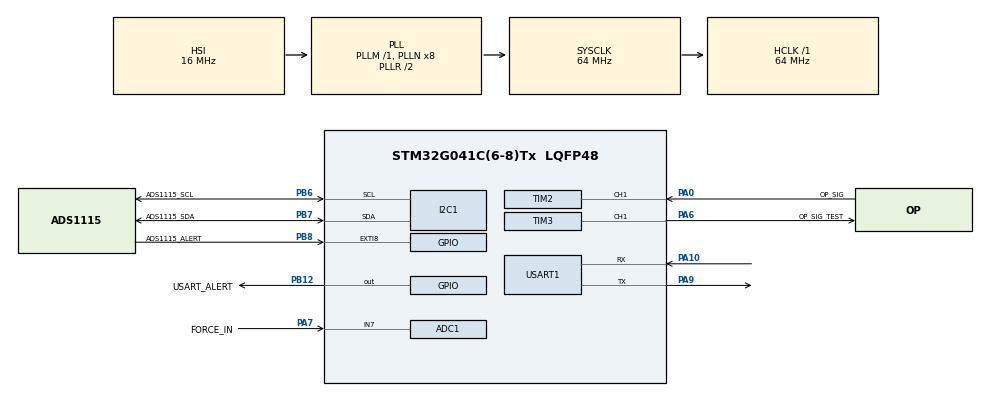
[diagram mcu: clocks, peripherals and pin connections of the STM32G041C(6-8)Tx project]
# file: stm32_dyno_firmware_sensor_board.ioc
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ADC1.Channel-0\#ChannelRegularConversion=ADC_CHANNEL_7
ADC1.NbrOfConversionFlag=1
ADC1.Rank-0\#ChannelRegularConversion=1
ADC1.SamplingTime-0\#ChannelRegularConversion=ADC_SAMPLINGTIME_COMMON_1
ADC1.SelectedChannel=ADC_CHANNEL_7
ADC1.master=1
I2C1.Timing=0x10B17DB5
Mcu.Family=STM32G0
Mcu.Name=STM32G041C(6-8)Tx
Mcu.Package=LQFP48
NVIC.EXTI4_15_IRQn=true\:0\:0\:false\:false\:true\:true\:true\:true
NVIC.USART1_IRQn=true\:0\:0\:false\:false\:true\:true\:true\:true
PA0.GPIO_Label=OP_SIG
PA0.Signal=S_TIM2_CH1_ETR
PA10.Mode=Asynchronous
PA10.Signal=USART1_RX
PA13.Mode=Serial_Wire
PA13.Signal=SYS_SWDIO
PA14-BOOT0.Mode=Serial_Wire
PA14-BOOT0.Signal=SYS_SWCLK
PA6.GPIO_Label=OP_SIG_TEST
PA6.GPIO_PuPd=GPIO_PULLDOWN
PA6.Signal=S_TIM3_CH1
PA7.GPIO_Label=FORCE_IN
PA7.Mode=IN7
PA7.Signal=ADC1_IN7
PA9.Mode=Asynchronous
PA9.Signal=USART1_TX
PB12.GPIO_Label=USART_ALERT
PB12.GPIO_PuPd=GPIO_PULLUP
PB12.Signal=GPIO_Output
PB6.GPIO_Label=ADS1115_SCL
PB6.Mode=I2C
PB6.Signal=I2C1_SCL
PB7.GPIO_Label=ADS1115_SDA
PB7.Mode=I2C
PB7.Signal=I2C1_SDA
PB8.GPIO_Label=ADS1115_ALERT
PB8.GPIO_ModeDefaultEXTI=GPIO_MODE_IT_FALLING
PB8.GPIO_PuPd=GPIO_PULLUP
PB8.Signal=GPXTI8
ProjectManager.HeapSize=0x200
ProjectManager.StackSize=0x400
ProjectManager.TargetToolchain=STM32CubeIDE
RCC.ADCFreq_Value=64000000
RCC.AHBFreq_Value=64000000
RCC.CortexFreq_Value=64000000
RCC.EXTERNAL_CLOCK_VALUE=12288000
RCC.HCLKFreq_Value=64000000
RCC.HSE_VALUE=8000000
RCC.HSI_VALUE=16000000
RCC.LSE_VALUE=32768
RCC.PLLQ=RCC_PLLQ_DIV4
RCC.SYSCLKFreq_VALUE=64000000
RCC.SYSCLKSource=RCC_SYSCLKSOURCE_PLLCLK
RCC.VCOOutputFreq_Value=128000000
SH.S_TIM2_CH1_ETR.0=TIM2_CH1,TriggerSource_TI1FP1
SH.S_TIM3_CH1.0=TIM3_CH1,PWM Generation1 CH1
TIM1.Prescaler=16-1
TIM3.AutoReloadPreload=TIM_AUTORELOAD_PRELOAD_ENABLE
TIM3.Channel-PWM\ Generation1\ CH1=TIM_CHANNEL_1
TIM3.Period=400-1
TIM3.Prescaler=16-1
TIM3.Pulse-PWM\ Generation1\ CH1=200-1
USART1.VirtualMode-Asynchronous=VM_ASYNC
VP_TIM1_VS_ClockSourceINT.Mode=Internal
VP_TIM2_VS_ControllerModeClock.Mode=Clock Mode
board=custom

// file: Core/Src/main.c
/* USER CODE BEGIN Header */
/**
  ******************************************************************************
  * @file           : main.c
  * @brief          : Main program body
  ******************************************************************************
  * @attention
  *
  * Copyright (c) 2026 STMicroelectronics.
  * All rights reserved.
  *
  * This software is licensed under terms that can be found in the LICENSE file
  * in the root directory of this software component.
  * If no LICENSE file comes with this software, it is provided AS-IS.
  *
  ******************************************************************************
  */
/* USER CODE END Header */
#include "main.h"

/* USER CODE BEGIN Includes */
#include "ForceSensor/ADC/ForceSensor_ADC.h"
#include "ForceSensor/ADS1115/ForceSensor_ADS1115.h"
#include "OpticalSensor/OpticalSensor.h"

#include "Messages/messages_public.h"
#include "Messages/messages_private.h"
#include <stdio.h>
#include <string.h>
/* USER CODE END Includes */

/* USER CODE BEGIN PD */
#define PRINT_DATA_USING_SPRINTF 1
#define BYPASS_HANDSHAKES 1
/* USER CODE END PD */

ADC_HandleTypeDef hadc1;

I2C_HandleTypeDef hi2c1;

TIM_HandleTypeDef htim1;
TIM_HandleTypeDef htim2;
TIM_HandleTypeDef htim3;

UART_HandleTypeDef huart1;

void SystemClock_Config(void);
static void MX_GPIO_Init(void);
static void MX_TIM2_Init(void);
static void MX_ADC1_Init(void);
static void MX_I2C1_Init(void);
static void MX_USART1_UART_Init(void);
static void MX_TIM1_Init(void);
static void MX_TIM3_Init(void);

/* USER CODE BEGIN 0 */
TIM_HandleTypeDef* optical_timer = &htim1;
TIM_HandleTypeDef* optical_posedges_counter_timer = &htim2;

TIM_HandleTypeDef* optical_timer_test_pwm_timer = &htim3;

TIM_TypeDef* optical_timer_instance = TIM1;
TIM_TypeDef* optical_posedges_counter_timer_instance = TIM2;

ADC_HandleTypeDef* forcesensor_adc_handle = &hadc1;

I2C_HandleTypeDef* forcesensor_ads1115_i2c_handle = &hi2c1;

child_board_usart_combined_data_t usart_output_data;

child_board_force_sensor_ads1115_settings force_sensor_ads1115_settings = {
    .address = ADS1115_DEFAULT_ADDRESS,
    .multiplexer = ADS1115_MUX_P0_NG,
    .comparator_mode = ADS1115_COMP_MODE_HYSTERESIS,
    .comparator_polarity = ADS1115_COMP_POL_ACTIVE_LOW,
    .comparator_latch_enabled = ADS1115_COMP_LAT_NON_LATCHING,
    .comparator_queue_mode = ADS1115_COMP_QUE_DISABLE,
    .mode = ADS1115_MODE_SINGLESHOT,
    .data_rate = ADS1115_RATE_475,
    .gain = ADS1115_PGA_6P144
};

static volatile bool usart_message_received = false;

mother_board_to_child_board_usart_command_header_t usart_received_command_header;

bool waiting_on_uart_settings_msg = false;

bool error_detected = false;

/* USER CODE END 0 */

int main(void)
{

  /* MCU Configuration--------------------------------------------------------*/

  /* Reset of all peripherals, Initializes the Flash interface and the Systick. */
  HAL_Init();

  /* Configure the system clock */
  SystemClock_Config();

  /* Initialize all configured peripherals */
  MX_GPIO_Init();
  MX_TIM2_Init();
  MX_ADC1_Init();
  MX_I2C1_Init();
  MX_USART1_UART_Init();
  MX_TIM1_Init();
  MX_TIM3_Init();
  /* USER CODE BEGIN 2 */
  #if BYPASS_HANDSHAKES == 0
  HAL_UART_Receive_IT(&huart1, (uint8_t*)&usart_received_command_header, sizeof(mother_board_to_child_board_usart_command_header_t));
  #else
  OpticalSensor_Init();
  OpticalSensor_Enable(true);
  ForceSensorADS1115_Init(&force_sensor_ads1115_settings);
  ForceSensorADS1115_Enable(true);
  #endif

  HAL_TIM_PWM_Start(optical_timer_test_pwm_timer, TIM_CHANNEL_1);
  /* USER CODE END 2 */

  /* Infinite loop */
  /* USER CODE BEGIN WHILE */

  while (1)
  {
    bool skip = false;
    #if BYPASS_HANDSHAKES == 0
    if (usart_message_received)
    {
      __disable_irq();

      switch (usart_received_command_header.task_id)
      {
        case CHILD_BOARD_TASK_ID_OPTICAL_SENSOR:
          OpticalSensor_Enable(usart_received_command_header.enable);
          if (usart_received_command_header.enable)
          {
            OpticalSensor_Init();
          }
          break;

        case CHILD_BOARD_TASK_ID_FORCE_SENSOR_ADC:
          ForceSensorADC_Enable(usart_received_command_header.enable);
          if (usart_received_command_header.enable)
          {
            ForceSensorADC_Init();
          }
          break;

        case CHILD_BOARD_TASK_ID_FORCE_SENSOR_ADS1115:
          ForceSensorADS1115_Enable(usart_received_command_header.enable);
          if (usart_received_command_header.enable)
          {
            ForceSensorADS1115_Init(&force_sensor_ads1115_settings);
          }
          break;

        default:
          ChildBoardPopulateTaskErrorDataStruct(&usart_output_data.error_data, CHILD_BOARD_TASK_INVALID_TASK_ID, (uint32_t)ERROR_USB_RX_INVALID_TASK_ID);
          skip = true;
          break;
      }

      usart_message_received = false;
      if (HAL_UART_Receive_IT(&huart1, (uint8_t*)&usart_received_command_header, sizeof(mother_board_to_child_board_usart_command_header_t)) != HAL_OK)
      {
        ChildBoardPopulateTaskErrorDataStruct(&usart_output_data.error_data, CHILD_BOARD_TASK_INVALID_TASK_ID, (uint32_t)ERROR_USB_RX_CB_START_FAILURE);
      }

      __enable_irq();
    }
    #endif

    if (!skip)
    {
    	child_board_function_status_t status = OpticalSensor_Run();
      if (status == CHILD_BOARD_FUNCTION_ERROR || status == CHILD_BOARD_FUNCTION_WARNING)
      {
        OpticalSensor_Enable(false);
        skip = true;
      }
    }
    #if BYPASS_HANDSHAKES == 0
    if (!skip)
    {
      child_board_function_status_t status = ForceSensorADC_Run();
      if (status == CHILD_BOARD_FUNCTION_ERROR || status == CHILD_BOARD_FUNCTION_WARNING)
      {
        ForceSensorADC_Enable(false);
        skip = true;
      }
    }
    #endif

    if (!skip)
    {
	  child_board_function_status_t status = ForceSensorADS1115_Run();
      if (status == CHILD_BOARD_FUNCTION_ERROR || status == CHILD_BOARD_FUNCTION_WARNING)
      {
        ForceSensorADS1115_Enable(false);
      }
    }

    #if PRINT_DATA_USING_SPRINTF == 0
    HAL_UART_Transmit(&huart1, (uint8_t*)&usart_output_data, sizeof(usart_output_data), HAL_MAX_DELAY);
    #else
    char buffer[256];
    snprintf(buffer, sizeof(buffer), "%lu %lu %lu %lu %lu\r\n",
             usart_output_data.sensor_data.optical_count_posedges,
             usart_output_data.sensor_data.optical_timer_counter_value,
             usart_output_data.sensor_data.force_sensor_raw_value,
             usart_output_data.error_data.task_id,
             usart_output_data.error_data.error_id);
    HAL_UART_Transmit(&huart1, (uint8_t*)buffer, strlen(buffer), HAL_MAX_DELAY);
    #endif

    /* USER CODE END WHILE */

  }
}

void SystemClock_Config(void)
{
  RCC_OscInitTypeDef RCC_OscInitStruct = {0};
  RCC_ClkInitTypeDef RCC_ClkInitStruct = {0};

  /** Configure the main internal regulator output voltage
  */
  HAL_PWREx_ControlVoltageScaling(PWR_REGULATOR_VOLTAGE_SCALE1);

  /** Initializes the RCC Oscillators according to the specified parameters
  * in the RCC_OscInitTypeDef structure.
  */
  RCC_OscInitStruct.OscillatorType = RCC_OSCILLATORTYPE_HSI;
  RCC_OscInitStruct.HSIState = RCC_HSI_ON;
  RCC_OscInitStruct.HSIDiv = RCC_HSI_DIV1;
  RCC_OscInitStruct.HSICalibrationValue = RCC_HSICALIBRATION_DEFAULT;
  RCC_OscInitStruct.PLL.PLLState = RCC_PLL_ON;
  RCC_OscInitStruct.PLL.PLLSource = RCC_PLLSOURCE_HSI;
  RCC_OscInitStruct.PLL.PLLM = RCC_PLLM_DIV1;
  RCC_OscInitStruct.PLL.PLLN = 8;
  RCC_OscInitStruct.PLL.PLLP = RCC_PLLP_DIV2;
  RCC_OscInitStruct.PLL.PLLQ = RCC_PLLQ_DIV4;
  RCC_OscInitStruct.PLL.PLLR = RCC_PLLR_DIV2;
  if (HAL_RCC_OscConfig(&RCC_OscInitStruct) != HAL_OK)
  {
    Error_Handler();
  }

  /** Initializes the CPU, AHB and APB buses clocks
  */
  RCC_ClkInitStruct.ClockType = RCC_CLOCKTYPE_HCLK|RCC_CLOCKTYPE_SYSCLK
                              |RCC_CLOCKTYPE_PCLK1;
  RCC_ClkInitStruct.SYSCLKSource = RCC_SYSCLKSOURCE_PLLCLK;
  RCC_ClkInitStruct.AHBCLKDivider = RCC_SYSCLK_DIV1;
  RCC_ClkInitStruct.APB1CLKDivider = RCC_HCLK_DIV1;

  if (HAL_RCC_ClockConfig(&RCC_ClkInitStruct, FLASH_LATENCY_2) != HAL_OK)
  {
    Error_Handler();
  }
}

static void MX_ADC1_Init(void)
{

  ADC_ChannelConfTypeDef sConfig = {0};

  /** Configure the global features of the ADC (Clock, Resolution, Data Alignment and number of conversion)
  */
  hadc1.Instance = ADC1;
  hadc1.Init.ClockPrescaler = ADC_CLOCK_SYNC_PCLK_DIV2;
  hadc1.Init.Resolution = ADC_RESOLUTION_12B;
  hadc1.Init.DataAlign = ADC_DATAALIGN_RIGHT;
  hadc1.Init.ScanConvMode = ADC_SCAN_DISABLE;
  hadc1.Init.EOCSelection = ADC_EOC_SINGLE_CONV;
  hadc1.Init.LowPowerAutoWait = DISABLE;
  hadc1.Init.LowPowerAutoPowerOff = DISABLE;
  hadc1.Init.ContinuousConvMode = DISABLE;
  hadc1.Init.NbrOfConversion = 1;
  hadc1.Init.DiscontinuousConvMode = DISABLE;
  hadc1.Init.ExternalTrigConv = ADC_SOFTWARE_START;
  hadc1.Init.ExternalTrigConvEdge = ADC_EXTERNALTRIGCONVEDGE_NONE;
  hadc1.Init.DMAContinuousRequests = DISABLE;
  hadc1.Init.Overrun = ADC_OVR_DATA_PRESERVED;
  hadc1.Init.SamplingTimeCommon1 = ADC_SAMPLETIME_1CYCLE_5;
  hadc1.Init.SamplingTimeCommon2 = ADC_SAMPLETIME_1CYCLE_5;
  hadc1.Init.OversamplingMode = DISABLE;
  hadc1.Init.TriggerFrequencyMode = ADC_TRIGGER_FREQ_HIGH;
  if (HAL_ADC_Init(&hadc1) != HAL_OK)
  {
    Error_Handler();
  }

  /** Configure Regular Channel
  */
  sConfig.Channel = ADC_CHANNEL_7;
  sConfig.Rank = ADC_REGULAR_RANK_1;
  sConfig.SamplingTime = ADC_SAMPLINGTIME_COMMON_1;
  if (HAL_ADC_ConfigChannel(&hadc1, &sConfig) != HAL_OK)
  {
    Error_Handler();
  }

}

static void MX_I2C1_Init(void)
{

  hi2c1.Instance = I2C1;
  hi2c1.Init.Timing = 0x10B17DB5;
  hi2c1.Init.OwnAddress1 = 0;
  hi2c1.Init.AddressingMode = I2C_ADDRESSINGMODE_7BIT;
  hi2c1.Init.DualAddressMode = I2C_DUALADDRESS_DISABLE;
  hi2c1.Init.OwnAddress2 = 0;
  hi2c1.Init.OwnAddress2Masks = I2C_OA2_NOMASK;
  hi2c1.Init.GeneralCallMode = I2C_GENERALCALL_DISABLE;
  hi2c1.Init.NoStretchMode = I2C_NOSTRETCH_DISABLE;
  if (HAL_I2C_Init(&hi2c1) != HAL_OK)
  {
    Error_Handler();
  }

  /** Configure Analogue filter
  */
  if (HAL_I2CEx_ConfigAnalogFilter(&hi2c1, I2C_ANALOGFILTER_ENABLE) != HAL_OK)
  {
    Error_Handler();
  }

  /** Configure Digital filter
  */
  if (HAL_I2CEx_ConfigDigitalFilter(&hi2c1, 0) != HAL_OK)
  {
    Error_Handler();
  }

}

static void MX_TIM1_Init(void)
{

  TIM_ClockConfigTypeDef sClockSourceConfig = {0};
  TIM_MasterConfigTypeDef sMasterConfig = {0};

  htim1.Instance = TIM1;
  htim1.Init.Prescaler = 16-1;
  htim1.Init.CounterMode = TIM_COUNTERMODE_UP;
  htim1.Init.Period = 65535;
  htim1.Init.ClockDivision = TIM_CLOCKDIVISION_DIV1;
  htim1.Init.RepetitionCounter = 0;
  htim1.Init.AutoReloadPreload = TIM_AUTORELOAD_PRELOAD_DISABLE;
  if (HAL_TIM_Base_Init(&htim1) != HAL_OK)
  {
    Error_Handler();
  }
  sClockSourceConfig.ClockSource = TIM_CLOCKSOURCE_INTERNAL;
  if (HAL_TIM_ConfigClockSource(&htim1, &sClockSourceConfig) != HAL_OK)
  {
    Error_Handler();
  }
  sMasterConfig.MasterOutputTrigger = TIM_TRGO_RESET;
  sMasterConfig.MasterOutputTrigger2 = TIM_TRGO2_RESET;
  sMasterConfig.MasterSlaveMode = TIM_MASTERSLAVEMODE_DISABLE;
  if (HAL_TIMEx_MasterConfigSynchronization(&htim1, &sMasterConfig) != HAL_OK)
  {
    Error_Handler();
  }

}

static void MX_TIM2_Init(void)
{

  TIM_SlaveConfigTypeDef sSlaveConfig = {0};
  TIM_MasterConfigTypeDef sMasterConfig = {0};

  htim2.Instance = TIM2;
  htim2.Init.Prescaler = 0;
  htim2.Init.CounterMode = TIM_COUNTERMODE_UP;
  htim2.Init.Period = 4294967295;
  htim2.Init.ClockDivision = TIM_CLOCKDIVISION_DIV1;
  htim2.Init.AutoReloadPreload = TIM_AUTORELOAD_PRELOAD_DISABLE;
  if (HAL_TIM_Base_Init(&htim2) != HAL_OK)
  {
    Error_Handler();
  }
  sSlaveConfig.SlaveMode = TIM_SLAVEMODE_EXTERNAL1;
  sSlaveConfig.InputTrigger = TIM_TS_TI1FP1;
  sSlaveConfig.TriggerPolarity = TIM_TRIGGERPOLARITY_RISING;
  sSlaveConfig.TriggerFilter = 0;
  if (HAL_TIM_SlaveConfigSynchro(&htim2, &sSlaveConfig) != HAL_OK)
  {
    Error_Handler();
  }
  sMasterConfig.MasterOutputTrigger = TIM_TRGO_RESET;
  sMasterConfig.MasterSlaveMode = TIM_MASTERSLAVEMODE_DISABLE;
  if (HAL_TIMEx_MasterConfigSynchronization(&htim2, &sMasterConfig) != HAL_OK)
  {
    Error_Handler();
  }

}

static void MX_TIM3_Init(void)
{

  TIM_MasterConfigTypeDef sMasterConfig = {0};
  TIM_OC_InitTypeDef sConfigOC = {0};

  htim3.Instance = TIM3;
  htim3.Init.Prescaler = 16-1;
  htim3.Init.CounterMode = TIM_COUNTERMODE_UP;
  htim3.Init.Period = 400-1;
  htim3.Init.ClockDivision = TIM_CLOCKDIVISION_DIV1;
  htim3.Init.AutoReloadPreload = TIM_AUTORELOAD_PRELOAD_ENABLE;
  if (HAL_TIM_PWM_Init(&htim3) != HAL_OK)
  {
    Error_Handler();
  }
  sMasterConfig.MasterOutputTrigger = TIM_TRGO_RESET;
  sMasterConfig.MasterSlaveMode = TIM_MASTERSLAVEMODE_DISABLE;
  if (HAL_TIMEx_MasterConfigSynchronization(&htim3, &sMasterConfig) != HAL_OK)
  {
    Error_Handler();
  }
  sConfigOC.OCMode = TIM_OCMODE_PWM1;
  sConfigOC.Pulse = 200-1;
  sConfigOC.OCPolarity = TIM_OCPOLARITY_HIGH;
  sConfigOC.OCFastMode = TIM_OCFAST_DISABLE;
  if (HAL_TIM_PWM_ConfigChannel(&htim3, &sConfigOC, TIM_CHANNEL_1) != HAL_OK)
  {
    Error_Handler();
  }
  HAL_TIM_MspPostInit(&htim3);

}

static void MX_USART1_UART_Init(void)
{

  huart1.Instance = USART1;
  huart1.Init.BaudRate = 115200;
  huart1.Init.WordLength = UART_WORDLENGTH_8B;
  huart1.Init.StopBits = UART_STOPBITS_1;
  huart1.Init.Parity = UART_PARITY_NONE;
  huart1.Init.Mode = UART_MODE_TX_RX;
  huart1.Init.HwFlowCtl = UART_HWCONTROL_NONE;
  huart1.Init.OverSampling = UART_OVERSAMPLING_16;
  huart1.Init.OneBitSampling = UART_ONE_BIT_SAMPLE_DISABLE;
  huart1.Init.ClockPrescaler = UART_PRESCALER_DIV1;
  huart1.AdvancedInit.AdvFeatureInit = UART_ADVFEATURE_NO_INIT;
  if (HAL_UART_Init(&huart1) != HAL_OK)
  {
    Error_Handler();
  }
  if (HAL_UARTEx_SetTxFifoThreshold(&huart1, UART_TXFIFO_THRESHOLD_1_8) != HAL_OK)
  {
    Error_Handler();
  }
  if (HAL_UARTEx_SetRxFifoThreshold(&huart1, UART_RXFIFO_THRESHOLD_1_8) != HAL_OK)
  {
    Error_Handler();
  }
  if (HAL_UARTEx_DisableFifoMode(&huart1) != HAL_OK)
  {
    Error_Handler();
  }

}

static void MX_GPIO_Init(void)
{
  GPIO_InitTypeDef GPIO_InitStruct = {0};

  /* GPIO Ports Clock Enable */
  __HAL_RCC_GPIOA_CLK_ENABLE();
  __HAL_RCC_GPIOB_CLK_ENABLE();

  /*Configure GPIO pin Output Level */
  HAL_GPIO_WritePin(USART_ALERT_GPIO_Port, USART_ALERT_Pin, GPIO_PIN_RESET);

  /*Configure GPIO pin : USART_ALERT_Pin */
  GPIO_InitStruct.Pin = USART_ALERT_Pin;
  GPIO_InitStruct.Mode = GPIO_MODE_OUTPUT_PP;
  GPIO_InitStruct.Pull = GPIO_PULLUP;
  GPIO_InitStruct.Speed = GPIO_SPEED_FREQ_LOW;
  HAL_GPIO_Init(USART_ALERT_GPIO_Port, &GPIO_InitStruct);

  /*Configure GPIO pin : ADS1115_ALERT_Pin */
  GPIO_InitStruct.Pin = ADS1115_ALERT_Pin;
  GPIO_InitStruct.Mode = GPIO_MODE_IT_FALLING;
  GPIO_InitStruct.Pull = GPIO_PULLUP;
  HAL_GPIO_Init(ADS1115_ALERT_GPIO_Port, &GPIO_InitStruct);

  /* EXTI interrupt init*/
  HAL_NVIC_SetPriority(EXTI4_15_IRQn, 0, 0);
  HAL_NVIC_EnableIRQ(EXTI4_15_IRQn);

}

/* USER CODE BEGIN 4 */
void HAL_GPIO_EXTI_Falling_Callback(uint16_t GPIO_Pin)
{
	if (GPIO_Pin == ADS1115_ALERT_Pin)
	{
		forcesensor_ads1115_gpio_alert_interrupt();
	}
}

void HAL_TIM_PeriodElapsedCallback(TIM_HandleTypeDef *htim)
{
  if (htim->Instance == optical_timer_instance)
  {
    OpticalSensor_Overflow_Interrupt();
  }
}

void HAL_UART_RxCpltCallback(UART_HandleTypeDef *huart) {
    if (huart->Instance == USART1) {
      uint32_t payload_size = 0;
      if (!waiting_on_uart_settings_msg)
      {
        payload_size = usart_received_command_header.command_payload_length;
        waiting_on_uart_settings_msg = true;

        // If payload size is greater than 0, expect to receive payload next
        if (payload_size > 0)
        {
          // can use a switch here if we get more messages
          if (HAL_UART_Receive_IT(&huart1, (uint8_t*) &force_sensor_ads1115_settings, sizeof(child_board_force_sensor_ads1115_settings)) != HAL_OK)
          {
            ChildBoardPopulateTaskErrorDataStruct(&usart_output_data.error_data, CHILD_BOARD_TASK_INVALID_TASK_ID, (uint32_t)ERROR_USB_RX_CB_START_FAILURE);
          }
        }
        // otherwise the next expected message is a new command header
        // we will only call UART Receive IT again in the main loop after processing the current command
        else
        {
          usart_message_received = true;
        }
      }
      else
      {
        waiting_on_uart_settings_msg = false;
        usart_message_received = true;
      }

    }
}

/* USER CODE END 4 */

void Error_Handler(void)
{
  __disable_irq();
  while (1)
  {
  }
}
